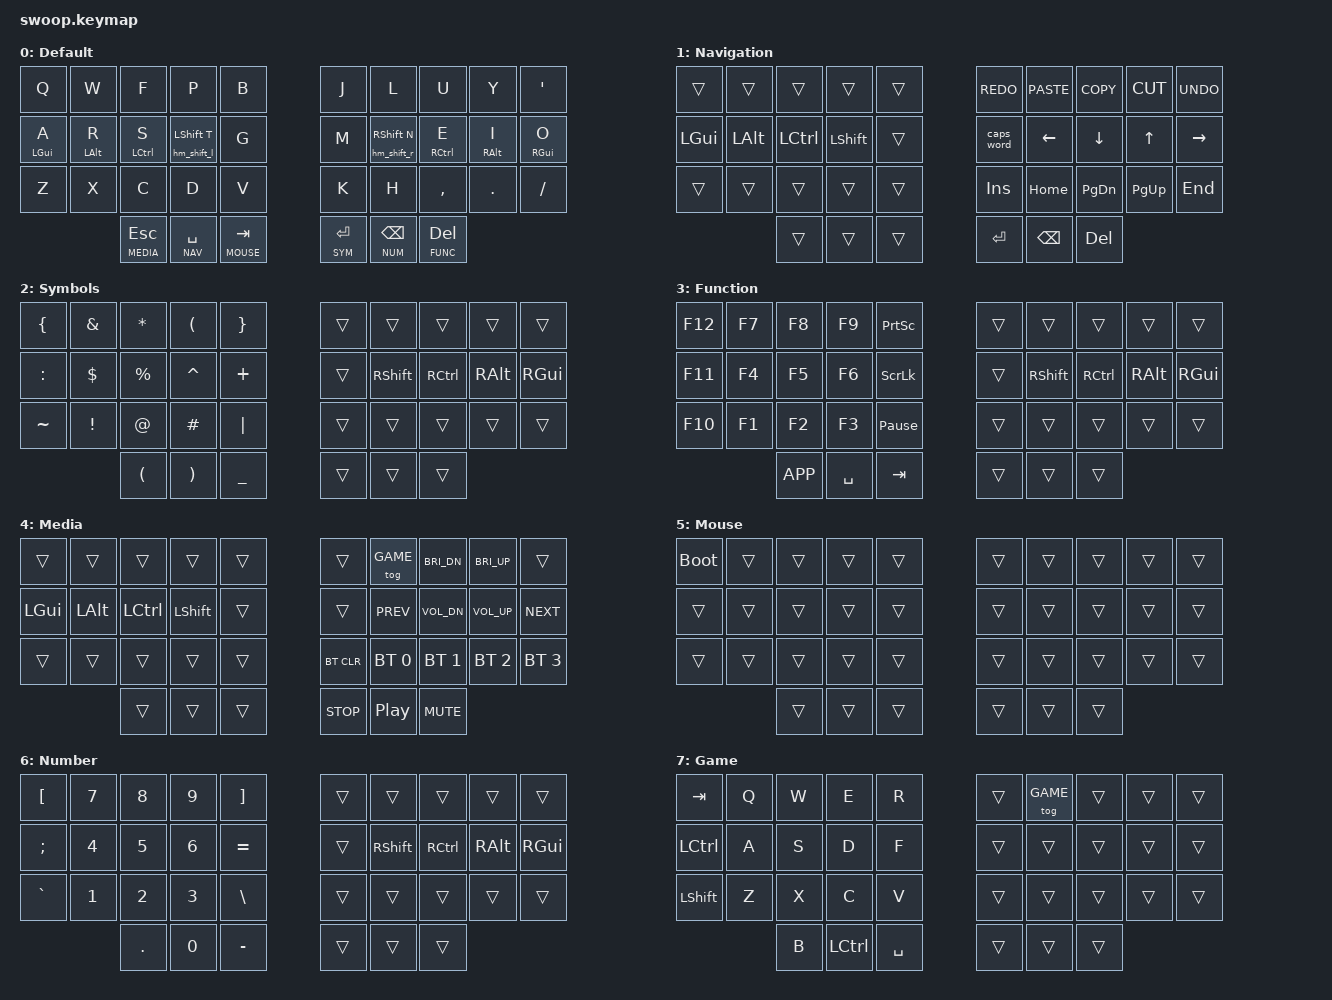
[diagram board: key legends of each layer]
#include <behaviors.dtsi>
#include <dt-bindings/zmk/keys.h>
#include <dt-bindings/zmk/bt.h>
#include <dt-bindings/zmk/outputs.h>

#include "zmk-helpers/helper.h"
#include "../../../dts/settings.dtsi"
#include "../../../dts/behaviours_homerow_mods.dtsi"

#define ___ &trans

#define DEFAULT 0
#define NAV     1
#define SYM     2
#define FUNC    3
#define MEDIA   4
#define MOUSE   5
#define NUM     6
#define GAME    7

&caps_word {
    continue-list = <UNDERSCORE MINUS>;
};

/ {
    behaviors {
        hm: homerow_mods {
            compatible = "zmk,behavior-hold-tap";
            display-name = "HOMEROW_MODS";
            #binding-cells = <2>;
            tapping-term-ms = <200>;
            quick-tap-ms = <0>;
            flavor = "tap-preferred";
            bindings = <&kp>, <&kp>;
        };
        hs: homerow_shift {
            compatible = "zmk,behavior-hold-tap";
            display-name = "HOMEROW_SHIFT";
            #binding-cells = <2>;
            tapping-term-ms = <150>;
            quick-tap-ms = <0>;
            flavor = "tap-preferred";
            bindings = <&kp>, <&kp>;
        };
    };
};

/ {

    keymap {
        compatible = "zmk,keymap";

        default_layer {
            display-name = "Default";

            bindings = <
                // ╭────────────────────────┬────────────────────────┬────────────────────────┬────────────────────────┬────────────────────────╮    ╭────────────────────────┬────────────────────────┬────────────────────────┬───────────────────────┬────────────────────────╮
                      &kp Q                    &kp W                    &kp F                    &kp P                    &kp B                         &kp J                    &kp L                    &kp U                    &kp Y                   &kp SQT
                // ├────────────────────────┼────────────────────────┼────────────────────────┼────────────────────────┼────────────────────────┤    ├────────────────────────┼────────────────────────┼────────────────────────┼───────────────────────┼────────────────────────┤
                      &hm_l LGUI A             &hm_l LALT R             &hm_l LCTL S             &hm_shift_l LSHIFT T     &kp G                         &kp M                    &hm_shift_r RSHIFT N     &hm_r RCTL E             &hm_r RALT I            &hm_r RGUI O
                // ├────────────────────────┼────────────────────────┼────────────────────────┼────────────────────────┼────────────────────────┤    ├────────────────────────┼────────────────────────┼────────────────────────┼───────────────────────┼────────────────────────┤
                      &kp Z                    &kp X                    &kp C                    &kp D                    &kp V                         &kp K                    &kp H                    &kp COMMA                &kp DOT                 &kp FSLH
                // ╰────────────────────────┴────────────────────────┴────────────────────────┼────────────────────────┼────────────────────────┤    ├────────────────────────┼────────────────────────┼────────────────────────┼───────────────────────┼────────────────────────╯
                                                                        &lt MEDIA ESC            &lt NAV SPACE            &lt MOUSE TAB                 &lt SYM RET              &lt NUM BSPC             &lt FUNC DEL
                //                                                   ╰────────────────────────┴────────────────────────┴────────────────────────╯    ╰────────────────────────┴────────────────────────┴────────────────────────╯
            >;
        };

        nav_layer {
            display-name = "Navigation";

            bindings = <
                // ╭────────────────────────┬────────────────────────┬────────────────────────┬────────────────────────┬────────────────────────╮    ╭────────────────────────┬────────────────────────┬────────────────────────┬───────────────────────┬────────────────────────╮
                      ___                      ___                      ___                      ___                      ___                           &kp K_REDO               &kp K_PASTE              &kp K_COPY                &kp K_CUT              &kp K_UNDO
                // ├────────────────────────┼────────────────────────┼────────────────────────┼────────────────────────┼────────────────────────┤    ├────────────────────────┼────────────────────────┼────────────────────────┼───────────────────────┼────────────────────────┤
                      &kp LGUI                 &kp LALT                 &kp LCTL                 &kp LSHIFT               ___                           &caps_word               &kp LEFT                 &kp DOWN                  &kp UP                 &kp RIGHT
                // ├────────────────────────┼────────────────────────┼────────────────────────┼────────────────────────┼────────────────────────┤    ├────────────────────────┼────────────────────────┼────────────────────────┼───────────────────────┼────────────────────────┤
                      ___                      ___                      ___                      ___                      ___                           &kp INS                  &kp HOME                 &kp PG_DN                 &kp PG_UP              &kp END
                // ╰────────────────────────┴────────────────────────┴────────────────────────┼────────────────────────┼────────────────────────┤    ├────────────────────────┼────────────────────────┼────────────────────────┼───────────────────────┼────────────────────────╯
                                                                        ___                      ___                      ___                           &kp RET                  &kp BSPC                 &kp DEL
                //                                                   ╰────────────────────────┴────────────────────────┴────────────────────────╯    ╰────────────────────────┴────────────────────────┴────────────────────────╯
            >;
        };

        
        sym_layer {
            display-name = "Symbols";

            bindings = <
                // ╭────────────────────────┬────────────────────────┬────────────────────────┬────────────────────────┬────────────────────────╮    ╭────────────────────────┬────────────────────────┬────────────────────────┬───────────────────────┬────────────────────────╮
                      &kp LBRC                 &kp AMPS                 &kp STAR                 &kp LPAR                 &kp RBRC                      ___                      ___                      ___                      ___                     ___
                // ├────────────────────────┼────────────────────────┼────────────────────────┼────────────────────────┼────────────────────────┤    ├────────────────────────┼────────────────────────┼────────────────────────┼───────────────────────┼────────────────────────┤
                      &kp COLON                &kp DLLR                 &kp PRCNT                &kp CARET                &kp PLUS                      ___                      &kp RSHIFT               &kp RCTL                 &kp RALT                &kp RGUI
                // ├────────────────────────┼────────────────────────┼────────────────────────┼────────────────────────┼────────────────────────┤    ├────────────────────────┼────────────────────────┼────────────────────────┼───────────────────────┼────────────────────────┤
                      &kp TILDE                &kp EXCL                 &kp AT                   &kp HASH                 &kp PIPE                      ___                      ___                      ___                      ___                     ___
                // ╰────────────────────────┴────────────────────────┴────────────────────────┼────────────────────────┼────────────────────────┤    ├────────────────────────┼────────────────────────┼────────────────────────┼───────────────────────┼────────────────────────╯
                                                                        &kp LPAR                 &kp RPAR                 &kp UNDER                     ___                      ___                      ___
                //                                                   ╰────────────────────────┴────────────────────────┴────────────────────────╯    ╰────────────────────────┴────────────────────────┴────────────────────────╯
            >;
        };

        func_layer {
            display-name = "Function";

            bindings = <
                // ╭────────────────────────┬────────────────────────┬────────────────────────┬────────────────────────┬────────────────────────╮    ╭────────────────────────┬────────────────────────┬────────────────────────┬───────────────────────┬────────────────────────╮
                      &kp F12                  &kp F7                   &kp F8                   &kp F9                   &kp PSCRN                     ___                      ___                      ___                      ___                     ___
                // ├────────────────────────┼────────────────────────┼────────────────────────┼────────────────────────┼────────────────────────┤    ├────────────────────────┼────────────────────────┼────────────────────────┼───────────────────────┼────────────────────────┤
                      &kp F11                  &kp F4                   &kp F5                   &kp F6                   &kp SLCK                      ___                      &kp RSHIFT               &kp RCTL                 &kp RALT                &kp RGUI
                // ├────────────────────────┼────────────────────────┼────────────────────────┼────────────────────────┼────────────────────────┤    ├────────────────────────┼────────────────────────┼────────────────────────┼───────────────────────┼────────────────────────┤
                      &kp F10                  &kp F1                   &kp F2                   &kp F3                   &kp PAUSE_BREAK               ___                      ___                      ___                      ___                     ___
                // ╰────────────────────────┴────────────────────────┴────────────────────────┼────────────────────────┼────────────────────────┤    ├────────────────────────┼────────────────────────┼────────────────────────┼───────────────────────┼────────────────────────╯
                                                                        &kp K_APP                &kp SPACE                &kp TAB                       ___                      ___                      ___
                //                                                   ╰────────────────────────┴────────────────────────┴────────────────────────╯    ╰────────────────────────┴────────────────────────┴────────────────────────╯
            >;
        };

        media_layer {
            display-name = "Media";

            bindings = <
                // ╭────────────────────────┬────────────────────────┬────────────────────────┬────────────────────────┬────────────────────────╮    ╭────────────────────────┬────────────────────────┬────────────────────────┬───────────────────────┬────────────────────────╮
                      ___                      ___                      ___                      ___                      ___                           ___                      &tog GAME                &kp C_BRI_DN             &kp C_BRI_UP            ___
                // ├────────────────────────┼────────────────────────┼────────────────────────┼────────────────────────┼────────────────────────┤    ├────────────────────────┼────────────────────────┼────────────────────────┼───────────────────────┼────────────────────────┤
                      &kp LGUI                 &kp LALT                 &kp LCTL                 &kp LSHIFT               ___                           ___                      &kp C_PREV               &kp K_VOL_DN             &kp K_VOL_UP            &kp C_NEXT
                // ├────────────────────────┼────────────────────────┼────────────────────────┼────────────────────────┼────────────────────────┤    ├────────────────────────┼────────────────────────┼────────────────────────┼───────────────────────┼────────────────────────┤
                      ___                      ___                      ___                      ___                      ___                           &bt BT_CLR               &bt BT_SEL 0             &bt BT_SEL 1             &bt BT_SEL 2            &bt BT_SEL 3
                // ╰────────────────────────┴────────────────────────┴────────────────────────┼────────────────────────┼────────────────────────┤    ├────────────────────────┼────────────────────────┼────────────────────────┼───────────────────────┼────────────────────────╯
                                                                        ___                      ___                      ___                           &kp C_STOP               &kp C_PP                 &kp C_MUTE
                //                                                   ╰────────────────────────┴────────────────────────┴────────────────────────╯    ╰────────────────────────┴────────────────────────┴────────────────────────╯
            >;
        };

        mouse_layer {
            display-name = "Mouse";

            bindings = <
                // ╭────────────────────────┬────────────────────────┬────────────────────────┬────────────────────────┬────────────────────────╮    ╭────────────────────────┬────────────────────────┬────────────────────────┬───────────────────────┬────────────────────────╮
                      &bootloader              ___                      ___                      ___                      ___                           ___                      ___                      ___                      ___                     ___
                // ├────────────────────────┼────────────────────────┼────────────────────────┼────────────────────────┼────────────────────────┤    ├────────────────────────┼────────────────────────┼────────────────────────┼───────────────────────┼────────────────────────┤
                      ___                      ___                      ___                      ___                      ___                           ___                      ___                      ___                      ___                     ___
                // ├────────────────────────┼────────────────────────┼────────────────────────┼────────────────────────┼────────────────────────┤    ├────────────────────────┼────────────────────────┼────────────────────────┼───────────────────────┼────────────────────────┤
                      ___                      ___                      ___                      ___                      ___                           ___                      ___                      ___                      ___                     ___
                // ╰────────────────────────┴────────────────────────┴────────────────────────┼────────────────────────┼────────────────────────┤    ├────────────────────────┼────────────────────────┼────────────────────────┼───────────────────────┼────────────────────────╯
                                                                        ___                      ___                      ___                           ___                      ___                      ___
                //                                                   ╰────────────────────────┴────────────────────────┴────────────────────────╯    ╰────────────────────────┴────────────────────────┴────────────────────────╯
            >;
        };

        num_layer {
            display-name = "Number";

            bindings = <
                // ╭────────────────────────┬────────────────────────┬────────────────────────┬────────────────────────┬────────────────────────╮    ╭────────────────────────┬────────────────────────┬────────────────────────┬───────────────────────┬────────────────────────╮
                      &kp LBKT                 &kp N7                   &kp N8                   &kp N9                   &kp RBKT                      ___                      ___                      ___                      ___                     ___
                // ├────────────────────────┼────────────────────────┼────────────────────────┼────────────────────────┼────────────────────────┤    ├────────────────────────┼────────────────────────┼────────────────────────┼───────────────────────┼────────────────────────┤
                      &kp SEMI                 &kp N4                   &kp N5                   &kp N6                   &kp EQUAL                     ___                      &kp RSHIFT               &kp RCTL                 &kp RALT                &kp RGUI
                // ├────────────────────────┼────────────────────────┼────────────────────────┼────────────────────────┼────────────────────────┤    ├────────────────────────┼────────────────────────┼────────────────────────┼───────────────────────┼────────────────────────┤
                      &kp GRAVE                &kp N1                   &kp N2                   &kp N3                   &kp BSLH                      ___                      ___                      ___                      ___                     ___
                // ╰────────────────────────┴────────────────────────┴────────────────────────┼────────────────────────┼────────────────────────┤    ├────────────────────────┼────────────────────────┼────────────────────────┼───────────────────────┼────────────────────────╯
                                                                        &kp DOT                  &kp N0                   &kp MINUS                     ___                      ___                      ___
                //                                                   ╰────────────────────────┴────────────────────────┴────────────────────────╯    ╰────────────────────────┴────────────────────────┴────────────────────────╯
            >;
        };

        
        game_layer {
            display-name = "Game";

            bindings = <
                // ╭────────────────────────┬────────────────────────┬────────────────────────┬────────────────────────┬────────────────────────╮    ╭────────────────────────┬────────────────────────┬────────────────────────┬───────────────────────┬────────────────────────╮
                      &kp TAB                  &kp Q                    &kp W                    &kp E                    &kp R                         ___                      &tog GAME                ___                      ___                     ___
                // ├────────────────────────┼────────────────────────┼────────────────────────┼────────────────────────┼────────────────────────┤    ├────────────────────────┼────────────────────────┼────────────────────────┼───────────────────────┼────────────────────────┤
                      &kp LCTL                 &kp A                    &kp S                    &kp D                    &kp F                         ___                      ___                      ___                      ___                     ___
                // ├────────────────────────┼────────────────────────┼────────────────────────┼────────────────────────┼────────────────────────┤    ├────────────────────────┼────────────────────────┼────────────────────────┼───────────────────────┼────────────────────────┤
                      &kp LSHIFT               &kp Z                    &kp X                    &kp C                    &kp V                         ___                      ___                      ___                      ___                     ___
                // ╰────────────────────────┴────────────────────────┴────────────────────────┼────────────────────────┼────────────────────────┤    ├────────────────────────┼────────────────────────┼────────────────────────┼───────────────────────┼────────────────────────╯
                                                                        &kp B                    &kp LCTL                 &kp SPACE                     ___                      ___                      ___
                //                                                   ╰────────────────────────┴────────────────────────┴────────────────────────╯    ╰────────────────────────┴────────────────────────┴────────────────────────╯
            >;
        };
    };
};
